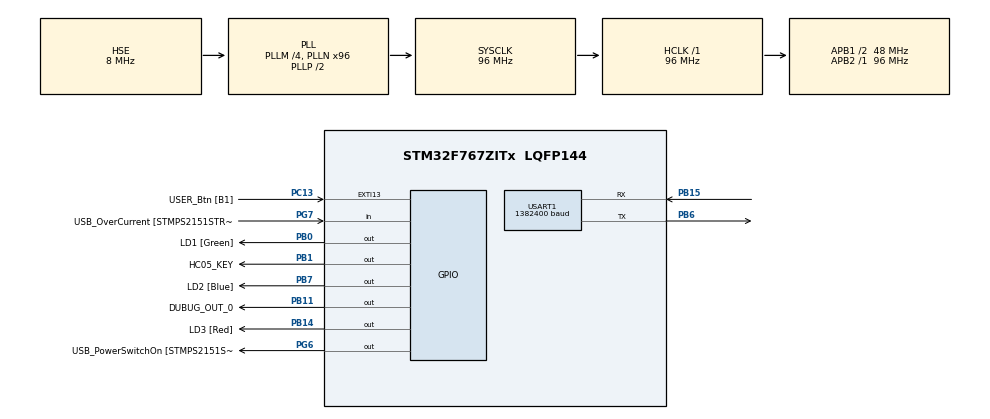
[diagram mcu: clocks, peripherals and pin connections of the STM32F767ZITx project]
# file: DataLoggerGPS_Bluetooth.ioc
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Mcu.Family=STM32F7
Mcu.Name=STM32F767ZITx
Mcu.Package=LQFP144
NVIC.PriorityGroup=NVIC_PRIORITYGROUP_4
NVIC.RCC_IRQn=true\:0\:0\:false\:false\:true\:true
NVIC.USART1_IRQn=true\:0\:0\:false\:false\:true\:true
PA1.GPIO_Label=RMII_REF_CLK [LAN8742A-CZ-TR_REFCLK0]
PA1.Signal=ETH_REF_CLK
PA10.GPIO_Label=USB_ID
PA10.Signal=USB_OTG_FS_ID
PA11.GPIO_Label=USB_DM
PA11.Signal=USB_OTG_FS_DM
PA12.GPIO_Label=USB_DP
PA12.Signal=USB_OTG_FS_DP
PA13.GPIO_Label=TMS
PA13.Mode=Trace_Asynchronous_SW
PA13.Signal=SYS_JTMS-SWDIO
PA14.GPIO_Label=TCK
PA14.Mode=Trace_Asynchronous_SW
PA14.Signal=SYS_JTCK-SWCLK
PA2.GPIO_Label=RMII_MDIO [LAN8742A-CZ-TR_MDIO]
PA2.Signal=ETH_MDIO
PA7.GPIO_Label=RMII_CRS_DV [LAN8742A-CZ-TR_CRS_DV]
PA7.Signal=ETH_CRS_DV
PA8.GPIO_Label=USB_SOF [TP1]
PA8.Signal=USB_OTG_FS_SOF
PA9.GPIO_Label=USB_VBUS
PA9.Signal=USB_OTG_FS_VBUS
PB0.GPIO_Label=LD1 [Green]
PB0.Signal=GPIO_Output
PB1.GPIO_Label=HC05_KEY
PB1.GPIO_ModeDefaultOutputPP=GPIO_MODE_OUTPUT_OD
PB1.GPIO_PuPd=GPIO_PULLUP
PB1.PinState=GPIO_PIN_SET
PB1.Signal=GPIO_Output
PB11.GPIO_Label=DUBUG_OUT_0
PB11.Signal=GPIO_Output
PB13.GPIO_Label=RMII_TXD1 [LAN8742A-CZ-TR_TXD1]
PB13.Signal=ETH_TXD1
PB14.GPIO_Label=LD3 [Red]
PB14.Signal=GPIO_Output
PB15.GPIO_PuPd=GPIO_PULLUP
PB15.Mode=Asynchronous
PB15.Signal=USART1_RX
PB3.GPIO_Label=SWO
PB3.Mode=Trace_Asynchronous_SW
PB3.Signal=SYS_JTDO-SWO
PB6.GPIO_PuPd=GPIO_PULLUP
PB6.Mode=Asynchronous
PB6.Signal=USART1_TX
PB7.GPIO_Label=LD2 [Blue]
PB7.Signal=GPIO_Output
PC1.GPIO_Label=RMII_MDC [LAN8742A-CZ-TR_MDC]
PC1.Signal=ETH_MDC
PC13.GPIO_Label=USER_Btn [B1]
PC13.Signal=GPXTI13
PC14/OSC32_IN.Signal=RCC_OSC32_IN
PC15/OSC32_OUT.Signal=RCC_OSC32_OUT
PC4.GPIO_Label=RMII_RXD0 [LAN8742A-CZ-TR_RXD0]
PC4.Signal=ETH_RXD0
PC5.GPIO_Label=RMII_RXD1 [LAN8742A-CZ-TR_RXD1]
PC5.Signal=ETH_RXD1
PD8.GPIO_Label=STLK_RX [STM32F103CBT6_PA3]
PD8.Signal=USART3_TX
PD9.GPIO_Label=STLK_TX [STM32F103CBT6_PA2]
PD9.Signal=USART3_RX
PG11.GPIO_Label=RMII_TX_EN [LAN8742A-CZ-TR_TXEN]
PG11.Signal=ETH_TX_EN
PG13.GPIO_Label=RMII_TXD0 [LAN8742A-CZ-TR_TXD0]
PG13.Signal=ETH_TXD0
PG6.GPIO_Label=USB_PowerSwitchOn [STMPS2151STR_EN]
PG6.Signal=GPIO_Output
PG7.GPIO_Label=USB_OverCurrent [STMPS2151STR_FAULT]
PG7.Signal=GPIO_Input
PH0/OSC_IN.GPIO_Label=MCO [STM32F103CBT6_PA8]
PH0/OSC_IN.Mode=HSE-External-Oscillator
PH0/OSC_IN.Signal=RCC_OSC_IN
PH1/OSC_OUT.Mode=HSE-External-Oscillator
PH1/OSC_OUT.Signal=RCC_OSC_OUT
ProjectManager.HeapSize=0x200
ProjectManager.StackSize=0x400
ProjectManager.TargetToolchain=TrueSTUDIO
RCC.48MHZClocksFreq_Value=24000000
RCC.AHBFreq_Value=96000000
RCC.APB1CLKDivider=RCC_HCLK_DIV2
RCC.APB1Freq_Value=48000000
RCC.APB1TimFreq_Value=96000000
RCC.APB2Freq_Value=96000000
RCC.APB2TimFreq_Value=96000000
RCC.CortexFreq_Value=96000000
RCC.HCLKFreq_Value=96000000
RCC.HSE_VALUE=8000000
RCC.HSI_VALUE=16000000
RCC.LSE_VALUE=32768
RCC.PLLM=4
RCC.PLLMUL=RCC_PLL_MUL9
RCC.PLLN=96
RCC.PLLQ=4
RCC.PLLSourceVirtual=RCC_PLLSOURCE_HSE
RCC.PRESCALERUSB=RCC_USBCLKSOURCE_PLL_DIV1_5
RCC.SYSCLKFreq_VALUE=96000000
RCC.SYSCLKSource=RCC_SYSCLKSOURCE_PLLCLK
RCC.SYSCLKSourceVirtual=RCC_SYSCLKSOURCE_PLLCLK
RCC.USBFreq_Value=48000000
RCC.VCOOutputFreq_Value=192000000
USART1.BaudRate=1382400
USART1.VirtualMode-Asynchronous=VM_ASYNC
board=NUCLEO-F767ZI

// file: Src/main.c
/**
  ******************************************************************************
  * @file           : main.c
  * @brief          : Main program body
  ******************************************************************************
  ** This notice applies to any and all portions of this file
  * that are not between comment pairs USER CODE BEGIN and
  * USER CODE END. Other portions of this file, whether
  * inserted by the user or by software development tools
  * are owned by their respective copyright owners.
  *
  * COPYRIGHT(c) 2019 STMicroelectronics
  *
  * Redistribution and use in source and binary forms, with or without modification,
  * are permitted provided that the following conditions are met:
  *   1. Redistributions of source code must retain the above copyright notice,
  *      this list of conditions and the following disclaimer.
  *   2. Redistributions in binary form must reproduce the above copyright notice,
  *      this list of conditions and the following disclaimer in the documentation
  *      and/or other materials provided with the distribution.
  *   3. Neither the name of STMicroelectronics nor the names of its contributors
  *      may be used to endorse or promote products derived from this software
  *      without specific prior written permission.
  *
  * THIS SOFTWARE IS PROVIDED BY THE COPYRIGHT HOLDERS AND CONTRIBUTORS "AS IS"
  * AND ANY EXPRESS OR IMPLIED WARRANTIES, INCLUDING, BUT NOT LIMITED TO, THE
  * IMPLIED WARRANTIES OF MERCHANTABILITY AND FITNESS FOR A PARTICULAR PURPOSE ARE
  * DISCLAIMED. IN NO EVENT SHALL THE COPYRIGHT HOLDER OR CONTRIBUTORS BE LIABLE
  * FOR ANY DIRECT, INDIRECT, INCIDENTAL, SPECIAL, EXEMPLARY, OR CONSEQUENTIAL
  * DAMAGES (INCLUDING, BUT NOT LIMITED TO, PROCUREMENT OF SUBSTITUTE GOODS OR
  * SERVICES; LOSS OF USE, DATA, OR PROFITS; OR BUSINESS INTERRUPTION) HOWEVER
  * CAUSED AND ON ANY THEORY OF LIABILITY, WHETHER IN CONTRACT, STRICT LIABILITY,
  * OR TORT (INCLUDING NEGLIGENCE OR OTHERWISE) ARISING IN ANY WAY OUT OF THE USE
  * OF THIS SOFTWARE, EVEN IF ADVISED OF THE POSSIBILITY OF SUCH DAMAGE.
  *
  ******************************************************************************
  */
#include "main.h"
#include "stm32f7xx_hal.h"
#include "usart.h"
#include "gpio.h"

/* USER CODE BEGIN Includes */

#include "digital_out_driver.h"
#include "uart_driver.h"
#include "hc05_driver.h"
#include "bluetooth_protocol_middleware.h"

#include "string.h"

/* USER CODE END Includes */

/* USER CODE BEGIN PV */
/* Private variables ---------------------------------------------------------*/

UartDriver_TypeDef 			uart1Driver;

HC05Driver_TypeDef			hc05Driver;

DigitalOutDriver_TypeDef	led1Driver;
DigitalOutDriver_TypeDef	led2Driver;
DigitalOutDriver_TypeDef	led3Driver;

DigitalOutDriver_TypeDef	debugOut0;

DigitalOutDriver_TypeDef	hc05KeyDriver;

DigitalOutDriver_Pin_TypeDef hc05KeyPin = HC05_KEY_Pin;

DigitalOutDriver_Pin_TypeDef ledDebug1Pin = LD1_Pin;
DigitalOutDriver_Pin_TypeDef ledDebug2Pin = LD2_Pin;
DigitalOutDriver_Pin_TypeDef ledDebug3Pin = LD3_Pin;

DigitalOutDriver_Pin_TypeDef debugOut0Pin = DUBUG_OUT_0_Pin;

BluetoothProtocolMiddleware_TypeDef	btMiddleware;

/* USER CODE END PV */

void SystemClock_Config(void);

/* USER CODE BEGIN PFP */
/* Private function prototypes -----------------------------------------------*/

/* USER CODE END PFP */

/* USER CODE BEGIN 0 */

extern UART_HandleTypeDef huart1;

void HAL_UART_RxCpltCallback(UART_HandleTypeDef *huart){
	DigitalOutDriver_setHigh(&debugOut0);
	if (huart == (&huart1)){
		if (UartDriver_receivedBytesCallback(&uart1Driver) != UartDriver_Status_OK){
			Error_Handler();
		}
	}
	DigitalOutDriver_setLow(&debugOut0);
}

void HAL_UART_TxCpltCallback(UART_HandleTypeDef *huart){
	if (huart == (&huart1)){
		if (UartDriver_transmitCompleteCallback(&uart1Driver) != UartDriver_Status_OK){
			Error_Handler();
		}
	}
}

void foo(uint8_t byte, void* dummy){

	DigitalOutDriver_toggle(&led3Driver);

}

/* USER CODE END 0 */

int main(void)
{

  /* MCU Configuration----------------------------------------------------------*/

  /* Reset of all peripherals, Initializes the Flash interface and the Systick. */
  HAL_Init();

  /* Configure the system clock */
  SystemClock_Config();

  /* Initialize all configured peripherals */
  MX_GPIO_Init();
  MX_USART1_UART_Init();
  /* USER CODE BEGIN 2 */

  DigitalOutDriver_init(&led1Driver, (DigitalOutDriver_Port_TypeDef*)LD1_GPIO_Port, &ledDebug1Pin, DigitalOutDriver_StartLevel_High);
  DigitalOutDriver_init(&led2Driver, (DigitalOutDriver_Port_TypeDef*)LD2_GPIO_Port, &ledDebug2Pin, DigitalOutDriver_StartLevel_High);
  DigitalOutDriver_init(&led3Driver, (DigitalOutDriver_Port_TypeDef*)LD3_GPIO_Port, &ledDebug3Pin, DigitalOutDriver_StartLevel_High);

  DigitalOutDriver_init(&debugOut0, (DigitalOutDriver_Port_TypeDef*)DUBUG_OUT_0_GPIO_Port, &debugOut0Pin, DigitalOutDriver_StartLevel_High);

  DigitalOutDriver_init(&hc05KeyDriver, (DigitalOutDriver_Port_TypeDef*)HC05_KEY_GPIO_Port, &hc05KeyPin, DigitalOutDriver_StartLevel_High);

  UartDriver_init(&uart1Driver, &huart1, 38400);

  HC05Driver_init(&hc05Driver, HC05Driver_Role_Slave, &uart1Driver, &hc05KeyDriver, HC05_DATA_BAUDRATE, HC05_DEVICE_NAME, HC05_PASSWORD);

//  BluetoothProtocolMiddleware_init(&btMiddleware, &hc05Driver);

  HC05Driver_Status_TypeDef st = HC05Driver_setReceiveDataCallback(&hc05Driver, foo, NULL, NULL);
/*  uint8_t buffer[] = {1, 2, 3, 4};

  UartDriver_sendBytes(&uartDriver, buffer, 4);
  UartDriver_setBaudRate(&uartDriver, 38400);
  UartDriver_sendBytes(&uartDriver, buffer, 4);*/

  /* USER CODE END 2 */

  /* Infinite loop */
  /* USER CODE BEGIN WHILE */
  while (1)
  {
	  DigitalOutDriver_setHigh(&led2Driver);
	  HAL_Delay(200);
	  DigitalOutDriver_setLow(&led2Driver);
	  HAL_Delay(400);
	  DigitalOutDriver_toggle(&led1Driver);
	  HAL_Delay(100);
//	  BluetoothProtocolMiddleware_worker(&btMiddleware);

  /* USER CODE END WHILE */

  }

}

void SystemClock_Config(void)
{

  RCC_OscInitTypeDef RCC_OscInitStruct;
  RCC_ClkInitTypeDef RCC_ClkInitStruct;
  RCC_PeriphCLKInitTypeDef PeriphClkInitStruct;

    /**Configure the main internal regulator output voltage
    */
  __HAL_RCC_PWR_CLK_ENABLE();

  __HAL_PWR_VOLTAGESCALING_CONFIG(PWR_REGULATOR_VOLTAGE_SCALE3);

    /**Initializes the CPU, AHB and APB busses clocks
    */
  RCC_OscInitStruct.OscillatorType = RCC_OSCILLATORTYPE_HSE;
  RCC_OscInitStruct.HSEState = RCC_HSE_ON;
  RCC_OscInitStruct.PLL.PLLState = RCC_PLL_ON;
  RCC_OscInitStruct.PLL.PLLSource = RCC_PLLSOURCE_HSE;
  RCC_OscInitStruct.PLL.PLLM = 4;
  RCC_OscInitStruct.PLL.PLLN = 96;
  RCC_OscInitStruct.PLL.PLLP = RCC_PLLP_DIV2;
  RCC_OscInitStruct.PLL.PLLQ = 4;
  if (HAL_RCC_OscConfig(&RCC_OscInitStruct) != HAL_OK)
  {
    _Error_Handler(__FILE__, __LINE__);
  }

    /**Activate the Over-Drive mode
    */
  if (HAL_PWREx_EnableOverDrive() != HAL_OK)
  {
    _Error_Handler(__FILE__, __LINE__);
  }

    /**Initializes the CPU, AHB and APB busses clocks
    */
  RCC_ClkInitStruct.ClockType = RCC_CLOCKTYPE_HCLK|RCC_CLOCKTYPE_SYSCLK
                              |RCC_CLOCKTYPE_PCLK1|RCC_CLOCKTYPE_PCLK2;
  RCC_ClkInitStruct.SYSCLKSource = RCC_SYSCLKSOURCE_PLLCLK;
  RCC_ClkInitStruct.AHBCLKDivider = RCC_SYSCLK_DIV1;
  RCC_ClkInitStruct.APB1CLKDivider = RCC_HCLK_DIV2;
  RCC_ClkInitStruct.APB2CLKDivider = RCC_HCLK_DIV1;

  if (HAL_RCC_ClockConfig(&RCC_ClkInitStruct, FLASH_LATENCY_3) != HAL_OK)
  {
    _Error_Handler(__FILE__, __LINE__);
  }

  PeriphClkInitStruct.PeriphClockSelection = RCC_PERIPHCLK_USART1;
  PeriphClkInitStruct.Usart1ClockSelection = RCC_USART1CLKSOURCE_PCLK2;
  if (HAL_RCCEx_PeriphCLKConfig(&PeriphClkInitStruct) != HAL_OK)
  {
    _Error_Handler(__FILE__, __LINE__);
  }

    /**Configure the Systick interrupt time
    */
  HAL_SYSTICK_Config(HAL_RCC_GetHCLKFreq()/1000);

    /**Configure the Systick
    */
  HAL_SYSTICK_CLKSourceConfig(SYSTICK_CLKSOURCE_HCLK);

  /* SysTick_IRQn interrupt configuration */
  HAL_NVIC_SetPriority(SysTick_IRQn, 0, 0);
}

void _Error_Handler(char *file, int line)
{
  while(1)
  {
  }
}

/************************ (C) COPYRIGHT STMicroelectronics *****END OF FILE****/
